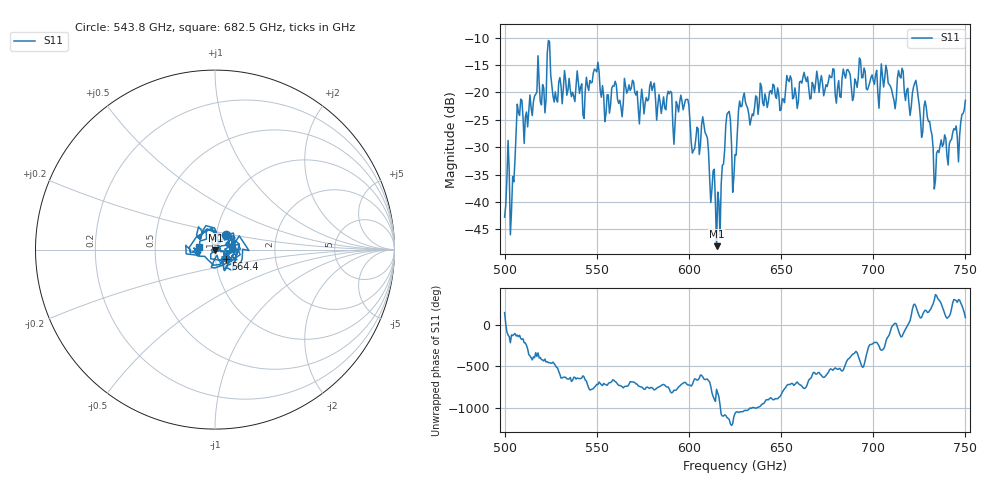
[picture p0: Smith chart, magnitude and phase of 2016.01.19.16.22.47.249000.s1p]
!Created with skrf (http://scikit-rf.org).
# GHz S RI R 50.0
!freq ReS11 ImS11
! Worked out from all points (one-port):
!   401 points, 500 GHz to 750 GHz, reference 50 ohm
!   lowest |S11| = -48.1 dB at 615 GHz (marker M1), VSWR 1.01, Z = 50.2 - j0.339 ohm
!   |S11| at or under -10 dB: start of sweep to end of sweep
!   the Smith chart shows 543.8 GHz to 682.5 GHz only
!   S11 on the Smith chart (normalised r, x): 543.8 GHz: 1.12, +0.19; 564.4 GHz: 1.12, -0.12; 682.5 GHz: 0.84, +0.02
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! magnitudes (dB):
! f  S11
! 500 GHz  -42.8
! 504.4 GHz  -35.4
! 508.1 GHz  -24.2
! 521.2 GHz  -19.2
! 524.4 GHz  -10.7
! 527.5 GHz  -19.9
! 531.2 GHz  -22.1
! 543.8 GHz  -19.7
! 550 GHz  -16.2
! 562.5 GHz  -21.4
! 564.4 GHz  -22.0
! 593.8 GHz  -22.4
! 598.8 GHz  -21.3
! 602.5 GHz  -30.6
! 608.8 GHz  -27.3
! 615 GHz  -48.1
! 616.2 GHz  -39.9
! 621.2 GHz  -23.7
! 625 GHz  -31.3
! 628.8 GHz  -22.5
! 656.2 GHz  -21.1
! 682.5 GHz  -20.9
! 687.5 GHz  -16.7
! 715 GHz  -17.4
! 718.8 GHz  -19.2
! 723.1 GHz  -17.8
! 734.4 GHz  -31.1
! 750 GHz  -21.4
